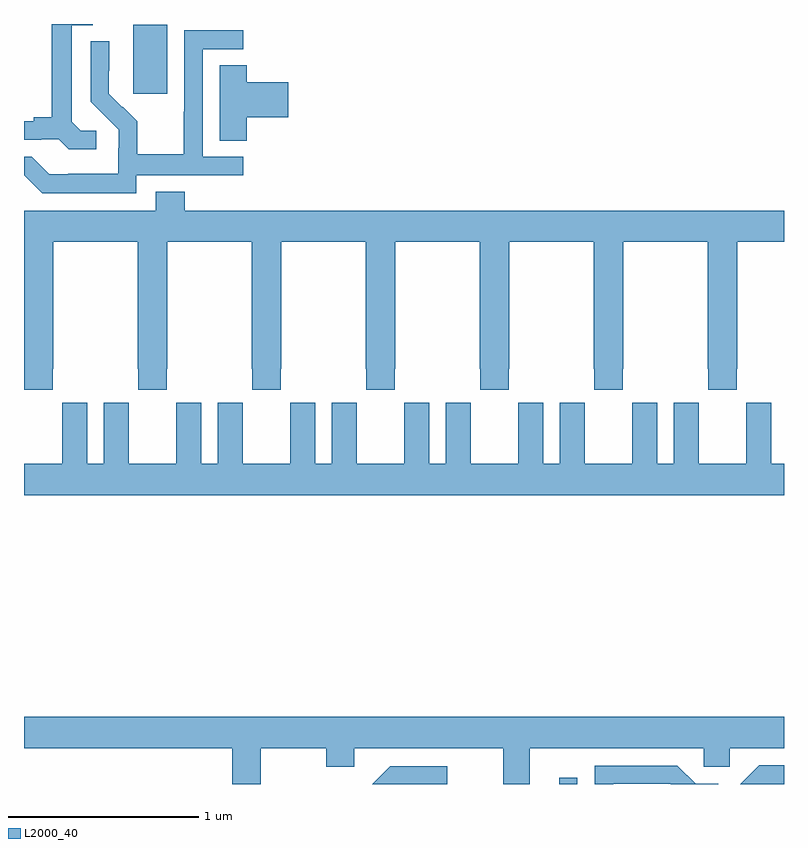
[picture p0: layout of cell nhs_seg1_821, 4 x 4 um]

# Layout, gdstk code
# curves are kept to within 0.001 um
import gdstk
lib = gdstk.Library(unit=1e-6, precision=1e-09)
def R(c, l, rs):  # rectangles x0, y0, x1, y1
    for r in rs: c.add(gdstk.rectangle(r[:2], r[2:], *l))
def P(c, l, *ps):  # polygons
    for p in ps: c.add(gdstk.Polygon(p, *l))
L2000_40 = (2000, 40)

nhs_seg1_821 = lib.new_cell('nhs_seg1_821')
R(nhs_seg1_821, L2000_40, [(157.817,562.199,157.913,562.231), (155.576,565.833,155.755,566.194)])
P(nhs_seg1_821, L2000_40, [(155.38,565.638),(155.298,565.638),(155.251,565.685),(155.251,566.193),(155.362,566.193),(155.362,566.199),(155.147,566.199),(155.147,565.709),(155.051,565.709),(155.051,565.686),(155,565.686),(155,565.59),(155.09,565.59),(155.09,565.593),(155.184,565.593),(155.236,565.541),(155.38,565.541)],
  [(155.592,565.404),(156.154,565.404),(156.154,565.5),(155.94,565.5),(155.94,566.067),(156.154,566.067),(156.154,566.166),(155.844,566.166),(155.844,565.736),(155.842,565.736),(155.842,565.513),(155.597,565.513),(155.597,565.687),(155.52,565.764),(155.517,565.761),(155.447,565.832),(155.448,566.108),(155.352,566.108),(155.352,565.79),(155.498,565.642),(155.498,565.545),(155.496,565.545),(155.496,565.411),(155.233,565.411),(155.233,565.407),(155.133,565.407),(155.04,565.5),(155,565.5),(155,565.402),(155.095,565.307),(155.592,565.307)],
  [(156.173,565.709),(156.391,565.709),(156.391,565.892),(156.173,565.892),(156.173,565.982),(156.029,565.982),(156.029,565.585),(156.173,565.585)],
  [(155.151,564.385),(155.154,564.385),(155.154,565.052),(155.599,565.052),(155.599,564.385),(155.601,564.385),(155.601,564.273),(155.751,564.273),(155.751,564.385),(155.754,564.385),(155.754,565.052),(156.199,565.052),(156.199,564.385),(156.201,564.385),(156.201,564.273),(156.351,564.273),(156.351,564.385),(156.354,564.385),(156.354,565.052),(156.799,565.052),(156.799,564.385),(156.801,564.385),(156.801,564.273),(156.951,564.273),(156.951,564.385),(156.954,564.385),(156.954,565.052),(157.399,565.052),(157.399,564.385),(157.401,564.385),(157.401,564.273),(157.551,564.273),(157.551,564.385),(157.554,564.385),(157.554,565.052),(157.999,565.052),(157.999,564.385),(158.001,564.385),(158.001,564.273),(158.151,564.273),(158.151,564.385),(158.154,564.385),(158.154,565.052),(158.599,565.052),(158.599,564.385),(158.601,564.385),(158.601,564.273),(158.751,564.273),(158.751,564.385),(158.754,564.385),(158.754,565.052),(159,565.052),(159,565.216),(155.846,565.216),(155.846,565.315),(155.693,565.315),(155.693,565.216),(155,565.216),(155,564.385),(155.001,564.385),(155.001,564.273),(155.151,564.273)],
  [(159,563.884),(158.932,563.884),(158.932,564.205),(158.802,564.205),(158.802,564.092),(158.801,564.092),(158.801,563.884),(158.551,563.884),(158.551,564.092),(158.55,564.092),(158.55,564.205),(158.42,564.205),(158.42,563.884),(158.332,563.884),(158.332,564.205),(158.202,564.205),(158.202,564.092),(158.201,564.092),(158.201,563.884),(157.951,563.884),(157.951,564.092),(157.95,564.092),(157.95,564.205),(157.82,564.205),(157.82,563.884),(157.732,563.884),(157.732,564.205),(157.602,564.205),(157.602,564.092),(157.601,564.092),(157.601,563.884),(157.351,563.884),(157.351,564.092),(157.35,564.092),(157.35,564.205),(157.22,564.205),(157.22,563.884),(157.132,563.884),(157.132,564.205),(157.002,564.205),(157.002,564.092),(157.001,564.092),(157.001,563.884),(156.751,563.884),(156.751,564.092),(156.75,564.092),(156.75,564.205),(156.62,564.205),(156.62,563.884),(156.532,563.884),(156.532,564.205),(156.402,564.205),(156.402,564.092),(156.401,564.092),(156.401,563.884),(156.151,563.884),(156.151,564.092),(156.15,564.092),(156.15,564.205),(156.02,564.205),(156.02,563.884),(155.932,563.884),(155.932,564.205),(155.802,564.205),(155.802,564.092),(155.801,564.092),(155.801,563.884),(155.551,563.884),(155.551,564.092),(155.55,564.092),(155.55,564.205),(155.42,564.205),(155.42,563.884),(155.332,563.884),(155.332,564.205),(155.202,564.205),(155.202,564.092),(155.201,564.092),(155.201,563.884),(155,563.884),(155,563.72),(159,563.72)],
  [(156.247,562.388),(156.592,562.388),(156.592,562.289),(156.739,562.289),(156.739,562.388),(157.523,562.388),(157.523,562.199),(157.663,562.199),(157.663,562.388),(158.577,562.388),(158.577,562.29),(158.715,562.29),(158.715,562.388),(159,562.388),(159,562.552),(155,562.552),(155,562.388),(156.095,562.388),(156.095,562.199),(156.247,562.199)],
  [(159,562.297),(158.869,562.297),(158.771,562.199),(159,562.199)],
  [(158.1,562.2),(158.403,562.2),(158.404,562.199),(158.654,562.199),(158.654,562.2),(158.535,562.2),(158.439,562.296),(158.004,562.296),(158.004,562.199),(158.1,562.199)],
  [(157.228,562.293),(156.927,562.293),(156.834,562.199),(157.228,562.199)])

lib.write_gds('nhs_seg1_821.gds')
